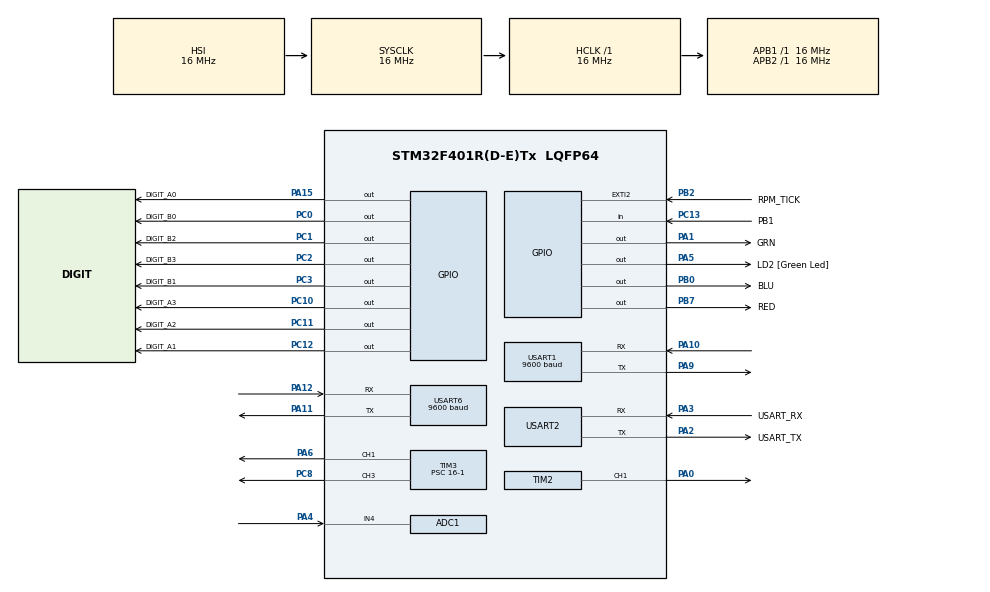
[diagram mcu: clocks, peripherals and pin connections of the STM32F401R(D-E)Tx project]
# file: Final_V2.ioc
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ADC1.Channel-1\#ChannelRegularConversion=ADC_CHANNEL_4
ADC1.NbrOfConversionFlag=1
ADC1.Rank-1\#ChannelRegularConversion=1
ADC1.Resolution=ADC_RESOLUTION_8B
ADC1.SamplingTime-1\#ChannelRegularConversion=ADC_SAMPLETIME_15CYCLES
ADC1.ScanConvMode=ENABLE
ADC1.master=1
Mcu.Family=STM32F4
Mcu.Name=STM32F401R(D-E)Tx
Mcu.Package=LQFP64
NVIC.EXTI2_IRQn=true\:0\:0\:false\:false\:true\:true\:true\:true
NVIC.PriorityGroup=NVIC_PRIORITYGROUP_0
NVIC.TIM5_IRQn=true\:0\:0\:false\:false\:true\:true\:true\:true
NVIC.USART1_IRQn=true\:0\:0\:false\:false\:true\:true\:true\:true
NVIC.USART6_IRQn=true\:0\:0\:false\:false\:true\:true\:true\:true
PA0-WKUP.Signal=S_TIM2_CH1_ETR
PA1.GPIO_Label=GRN
PA1.Signal=GPIO_Output
PA10.Mode=Asynchronous
PA10.Signal=USART1_RX
PA11.Mode=Asynchronous
PA11.Signal=USART6_TX
PA12.Mode=Asynchronous
PA12.Signal=USART6_RX
PA13.GPIO_Label=TMS
PA13.Mode=Serial_Wire
PA13.Signal=SYS_JTMS-SWDIO
PA14.GPIO_Label=TCK
PA14.Mode=Serial_Wire
PA14.Signal=SYS_JTCK-SWCLK
PA15.GPIO_Label=DIGIT_A0
PA15.Signal=GPIO_Output
PA2.GPIO_Label=USART_TX
PA2.GPIO_Mode=GPIO_MODE_AF_PP
PA2.GPIO_PuPd=GPIO_NOPULL
PA2.GPIO_Speed=GPIO_SPEED_FREQ_LOW
PA2.Mode=Asynchronous
PA2.Signal=USART2_TX
PA3.GPIO_Label=USART_RX
PA3.GPIO_Mode=GPIO_MODE_AF_PP
PA3.GPIO_PuPd=GPIO_NOPULL
PA3.GPIO_Speed=GPIO_SPEED_FREQ_LOW
PA3.Mode=Asynchronous
PA3.Signal=USART2_RX
PA4.Signal=ADCx_IN4
PA5.GPIO_Label=LD2 [Green Led]
PA5.GPIO_Mode=GPIO_MODE_OUTPUT_PP
PA5.GPIO_PuPd=GPIO_NOPULL
PA5.GPIO_Speed=GPIO_SPEED_FREQ_LOW
PA5.Signal=GPIO_Output
PA6.Signal=S_TIM3_CH1
PA9.Mode=Asynchronous
PA9.Signal=USART1_TX
PB0.GPIO_Label=BLU
PB0.Signal=GPIO_Output
PB2.GPIO_Label=RPM_TICK
PB2.Signal=GPXTI2
PB3.GPIO_Label=SWO
PB3.Signal=SYS_JTDO-SWO
PB7.GPIO_Label=RED
PB7.Signal=GPIO_Output
PC0.GPIO_Label=DIGIT_B0
PC0.Signal=GPIO_Output
PC1.GPIO_Label=DIGIT_B2
PC1.Signal=GPIO_Output
PC10.GPIO_Label=DIGIT_A3
PC10.Signal=GPIO_Output
PC11.GPIO_Label=DIGIT_A2
PC11.Signal=GPIO_Output
PC12.GPIO_Label=DIGIT_A1
PC12.Signal=GPIO_Output
PC13-ANTI_TAMP.GPIO_Label=PB1
PC13-ANTI_TAMP.Signal=GPIO_Input
PC14-OSC32_IN.Mode=LSE-External-Oscillator
PC14-OSC32_IN.Signal=RCC_OSC32_IN
PC15-OSC32_OUT.Mode=LSE-External-Oscillator
PC15-OSC32_OUT.Signal=RCC_OSC32_OUT
PC2.GPIO_Label=DIGIT_B3
PC2.Signal=GPIO_Output
PC3.GPIO_Label=DIGIT_B1
PC3.Signal=GPIO_Output
PC8.Signal=S_TIM3_CH3
PH0\ -\ OSC_IN.Mode=HSE-External-Clock-Source
PH0\ -\ OSC_IN.Signal=RCC_OSC_IN
PH1\ -\ OSC_OUT.Mode=HSE-External-Clock-Source
PH1\ -\ OSC_OUT.Signal=RCC_OSC_OUT
ProjectManager.HeapSize=0x200
ProjectManager.StackSize=0x400
ProjectManager.TargetToolchain=STM32CubeIDE
RCC.48MHZClocksFreq_Value=48000000
RCC.AHBFreq_Value=16000000
RCC.APB1Freq_Value=16000000
RCC.APB1TimFreq_Value=16000000
RCC.APB2Freq_Value=16000000
RCC.APB2TimFreq_Value=16000000
RCC.CortexFreq_Value=16000000
RCC.HCLKFreq_Value=16000000
RCC.HSE_VALUE=8000000
RCC.HSI_VALUE=16000000
RCC.PLLN=336
RCC.PLLP=RCC_PLLP_DIV4
RCC.PLLQ=7
RCC.SYSCLKFreq_VALUE=16000000
RCC.VCOOutputFreq_Value=336000000
SH.ADCx_IN4.0=ADC1_IN4,IN4
SH.S_TIM2_CH1_ETR.0=TIM2_CH1,PWM Generation1 CH1
SH.S_TIM3_CH1.0=TIM3_CH1,PWM Generation1 CH1
SH.S_TIM3_CH3.0=TIM3_CH3,PWM Generation3 CH3
TIM2.AutoReloadPreload=TIM_AUTORELOAD_PRELOAD_ENABLE
TIM2.Channel-PWM\ Generation1\ CH1=TIM_CHANNEL_1
TIM2.Period=20000-1
TIM2.Prescaler=16-1
TIM2.Pulse-PWM\ Generation1\ CH1=500-1
TIM3.AutoReloadPreload=TIM_AUTORELOAD_PRELOAD_ENABLE
TIM3.Channel-PWM\ Generation1\ CH1=TIM_CHANNEL_1
TIM3.Channel-PWM\ Generation3\ CH3=TIM_CHANNEL_3
TIM3.Period=2000-1
TIM3.Prescaler=16-1
TIM3.Pulse-PWM\ Generation1\ CH1=1200-1
TIM5.AutoReloadPreload=TIM_AUTORELOAD_PRELOAD_ENABLE
TIM5.Period=1000-1
TIM5.Prescaler=(16000-1)/300
USART1.BaudRate=9600
USART1.VirtualMode=VM_ASYNC
USART2.VirtualMode=VM_ASYNC
USART6.BaudRate=9600
USART6.VirtualMode=VM_ASYNC
VP_TIM2_VS_ClockSourceINT.Mode=Internal
VP_TIM5_VS_ClockSourceINT.Mode=Internal
board=NUCLEO-F401RE

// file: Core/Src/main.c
/* USER CODE BEGIN Header */
/**
  ******************************************************************************
  * @file           : main.c
  * @brief          : Main program body
  ******************************************************************************
  * @attention
  *
  * Copyright (c) 2024 STMicroelectronics.
  * All rights reserved.
  *
  * This software is licensed under terms that can be found in the LICENSE file
  * in the root directory of this software component.
  * If no LICENSE file comes with this software, it is provided AS-IS.
  *
  ******************************************************************************
  */
/* USER CODE END Header */
#include "main.h"

/* USER CODE BEGIN Includes */
#include <string.h>
#include <stdio.h>
#include <stdbool.h>
/* USER CODE END Includes */

/* USER CODE BEGIN PD */
uint8_t us100_buffer[2] = {0};
volatile uint16_t distance;
volatile uint8_t us100_Rx_flag = 0;
uint8_t cmd_dist = 0x55;
uint8_t msg_buffer[64] = {0};
int rpm_tick_count = 0;
uint8_t wall_clock_hr_update_flag = 0;
uint8_t rx_buffer[3]; // Buffer to store received characters
uint8_t rx_index = 0;              // Current index in the buffer
uint8_t rx_byte;                   // Temporary variable to store received byte
uint8_t txd_msg_buffer[64] = {0};
float rpm = 0;
int rpm_p = 0;
int new_hour = 0;
int halftime = 0;
uint8_t percent_pwm = 0;
float percent_pwm_p = 0;
uint8_t zone = 0;
bool done_setting = false;
int man_mode;
uint8_t DIG_A;
uint8_t DIG_B;
/* USER CODE END PD */

ADC_HandleTypeDef hadc1;

TIM_HandleTypeDef htim2;
TIM_HandleTypeDef htim3;
TIM_HandleTypeDef htim5;

UART_HandleTypeDef huart1;
UART_HandleTypeDef huart2;
UART_HandleTypeDef huart6;

/* USER CODE BEGIN PV */
volatile uint8_t clock_hours = 0;
volatile uint8_t clock_mins = 0;
volatile uint8_t clock_secs = 0;
/* USER CODE END PV */

void SystemClock_Config(void);
static void MX_GPIO_Init(void);
static void MX_USART2_UART_Init(void);
static void MX_ADC1_Init(void);
static void MX_TIM2_Init(void);
static void MX_TIM3_Init(void);
static void MX_USART1_UART_Init(void);
static void MX_USART6_UART_Init(void);
static void MX_TIM5_Init(void);
/* USER CODE BEGIN PFP */
static void ADC_Select_CH(int CH);
/* USER CODE END PFP */

/* USER CODE BEGIN 0 */
uint8_t rcv_intpt_flag = 0;
void ADC_Select_CH(int CH)
{
ADC_ChannelConfTypeDef sConfig = {0};
sConfig.Channel = ADC_CHANNEL_4;
sConfig.Rank = 1;
if (HAL_ADC_ConfigChannel(&hadc1, &sConfig) != HAL_OK)
	{
	Error_Handler();
	}
}
/* USER CODE END 0 */

int main(void)
{

  /* MCU Configuration--------------------------------------------------------*/

  /* Reset of all peripherals, Initializes the Flash interface and the Systick. */
  HAL_Init();

  /* USER CODE BEGIN Init */

  int mode = 0;
  /* USER CODE END Init */

  /* Configure the system clock */
  SystemClock_Config();

  /* Initialize all configured peripherals */
  MX_GPIO_Init();
  MX_USART2_UART_Init();
  MX_ADC1_Init();
  MX_TIM2_Init();
  MX_TIM3_Init();
  MX_USART1_UART_Init();
  MX_USART6_UART_Init();
  MX_TIM5_Init();
  /* USER CODE BEGIN 2 */
  HAL_TIM_Base_Init(&htim3);
  HAL_TIM_PWM_Start(&htim3, TIM_CHANNEL_1);
  HAL_TIM_PWM_Start(&htim3, TIM_CHANNEL_3);
  TIM3->PSC = 15;
  TIM3->ARR = 2000;
  TIM3->CCR1 = 0; //fwd
  TIM3->CCR3 = 0; //bckwd
  HAL_TIM_Base_Start(&htim2);
  HAL_TIM_PWM_Start(&htim2, TIM_CHANNEL_1);
  TIM2->PSC = 16-1;
  TIM2->ARR = 20000-1;
  TIM2->CCR1 = 500;
  int rpm_tick_start = 0;
  int timer_start = 1;
  int on_off = 0;
  int input_array[8];
  uint8_t clock_inputs[9];
  HAL_GPIO_WritePin(GPIOA, LD2_Pin, GPIO_PIN_RESET);

  /* USER CODE END 2 */

  /* Infinite loop */
  /* USER CODE BEGIN WHILE */
  while (1)
  {
    //user inputs for pipeplines
	  if (mode == 0){

		  HAL_UART_Transmit(&huart6, "\r\n",strlen("\r\n"), 1000);
			HAL_UART_Transmit(&huart6, "***SETUP MODE*** \r\n",strlen("***SETUP MODE*** \r\n"), 1000);
			HAL_UART_Transmit(&huart6, "ENTER SETUP PARAMETERS \r\n",strlen("ENTER SETUP PARAMETERS \r\n"), 1000);

			HAL_UART_Transmit(&huart6, "FIRST PIPELINE CHOICE FOR CONNECTION:",strlen("FIRST PIPELINE CHOICE FOR CONNECTION:"), 1000);
			rcv_intpt_flag = 00;
			HAL_UART_Receive_IT(&huart6, &rx_byte, 1);
			while(rcv_intpt_flag == (00)){}
			input_array[0] = atoi((char*)rx_buffer);
			HAL_UART_Transmit(&huart6, "\r\n",strlen("\r\n"), 1000);

			HAL_UART_Transmit(&huart6, "FIRST PIPELINE CHOICE FOR MOTOR PWM:",strlen("FIRST PIPELINE CHOICE FOR MOTOR PWM:"), 1000);
			rcv_intpt_flag = 00;
			HAL_UART_Receive_IT(&huart6, &rx_byte, 1);
			while(rcv_intpt_flag == (00)){}
			input_array[1] = atoi((char*)rx_buffer);
			HAL_UART_Transmit(&huart6, "\r\n",strlen("\r\n"), 1000);

			HAL_UART_Transmit(&huart6, "SECOND ZONE CHOICE FOR CONNECTION:",strlen("SECOND ZONE CHOICE FOR CONNECTION:"), 1000);
			rcv_intpt_flag = 00;
			HAL_UART_Receive_IT(&huart6, &rx_byte, 1);
			while(rcv_intpt_flag == (00)){}
			input_array[2] = atoi((char*)rx_buffer);
			HAL_UART_Transmit(&huart6, "\r\n",strlen("\r\n"), 1000);

			HAL_UART_Transmit(&huart6, "SECOND ZONE CHOICE FOR MOTOR PWM:",strlen("SECOND ZONE CHOICE FOR MOTOR PWM:"), 1000);
			rcv_intpt_flag = 00;
			HAL_UART_Receive_IT(&huart6, &rx_byte, 1);
			while(rcv_intpt_flag == (00)){}
			input_array[3] = atoi((char*)rx_buffer);
			HAL_UART_Transmit(&huart6, "\r\n",strlen("\r\n"), 1000);

			HAL_UART_Transmit(&huart6, "THIRD ZONE CHOICE FOR CONNECTION:",strlen("THIRD ZONE CHOICE FOR CONNECTION:"), 1000);
			rcv_intpt_flag = 00;
			HAL_UART_Receive_IT(&huart6, &rx_byte, 1);
			while(rcv_intpt_flag == (00)){}
			input_array[4] = atoi((char*)rx_buffer);
			HAL_UART_Transmit(&huart6, "\r\n",strlen("\r\n"), 1000);

			HAL_UART_Transmit(&huart6, "THIRD ZONE CHOICE FOR MOTOR PWM:",strlen("THIRD ZONE CHOICE FOR MOTOR PWM:"), 1000);
			rcv_intpt_flag = 00;
			HAL_UART_Receive_IT(&huart6, &rx_byte, 1);
			while(rcv_intpt_flag == (00)){}
			input_array[5] = atoi((char*)rx_buffer);
			HAL_UART_Transmit(&huart6, "\r\n",strlen("\r\n"), 1000);

			HAL_UART_Transmit(&huart6, "FOURTH ZONE CHOICE FOR CONNECTION:",strlen("FOURTH ZONE CHOICE FOR CONNECTION:"), 1000);
			rcv_intpt_flag = 00;
			HAL_UART_Receive_IT(&huart6, &rx_byte, 1);
			while(rcv_intpt_flag == (00)){}
			input_array[6] = atoi((char*)rx_buffer);
			HAL_UART_Transmit(&huart6, "\r\n",strlen("\r\n"), 1000);

			HAL_UART_Transmit(&huart6, "FOURTH ZONE CHOICE FOR MOTOR PWM:",strlen("FOURTH ZONE CHOICE FOR MOTOR PWM:"), 1000);
			rcv_intpt_flag = 00;
			HAL_UART_Receive_IT(&huart6, &rx_byte, 1);
			while(rcv_intpt_flag == (00)){}
			input_array[7] = atoi((char*)rx_buffer);
			HAL_UART_Transmit(&huart6, "\r\n",strlen("\r\n"), 1000);

      //user inputs for wall clock settings

      HAL_UART_Transmit(&huart6, "CURRENT WALL CLOCK TIME:",strlen("CURRENT WALL CLOCK TIME:"), 1000);
			rcv_intpt_flag = 00;
			HAL_UART_Receive_IT(&huart6, &rx_byte, 1);
			while(rcv_intpt_flag == (00)){}
      clock_inputs[0] = atoi((char*)rx_buffer);
			HAL_UART_Transmit(&huart6, "\r\n",strlen("\r\n"), 1000);

      HAL_UART_Transmit(&huart6, "INLET WALL CLOCK START TIME:",strlen("INLET WALL CLOCK START TIME:"), 1000);
			rcv_intpt_flag = 00;
			HAL_UART_Receive_IT(&huart6, &rx_byte, 1);
			while(rcv_intpt_flag == (00)){}
      clock_inputs[1] = atoi((char*)rx_buffer);
			HAL_UART_Transmit(&huart6, "\r\n",strlen("\r\n"), 1000);

      HAL_UART_Transmit(&huart6, "INLET WALL CLOCK STOP TIME:",strlen("INLET WALL CLOCK STOP TIME:"), 1000);
			rcv_intpt_flag = 00;
			HAL_UART_Receive_IT(&huart6, &rx_byte, 1);
			while(rcv_intpt_flag == (00)){}
      clock_inputs[2] = atoi((char*)rx_buffer);
			HAL_UART_Transmit(&huart6, "\r\n",strlen("\r\n"), 1000);

      HAL_UART_Transmit(&huart6, "FIRST ZONE CHOICE WALL CLOCK START TIME:",strlen("FIRST ZONE CHOICE WALL CLOCK START TIME:"), 1000);
			rcv_intpt_flag = 00;
			HAL_UART_Receive_IT(&huart6, &rx_byte, 1);
			while(rcv_intpt_flag == (00)){}
      clock_inputs[3] = atoi((char*)rx_buffer);
			HAL_UART_Transmit(&huart6, "\r\n",strlen("\r\n"), 1000);

      HAL_UART_Transmit(&huart6, "FIRST ZONE CHOICE WALL CLOCK STOP TIME:",strlen("FIRST ZONE CHOICE WALL CLOCK STOP TIME:"), 1000);
			rcv_intpt_flag = 00;
			HAL_UART_Receive_IT(&huart6, &rx_byte, 1);
			while(rcv_intpt_flag == (00)){}
      clock_inputs[4] = atoi((char*)rx_buffer);
			HAL_UART_Transmit(&huart6, "\r\n",strlen("\r\n"), 1000);

      HAL_UART_Transmit(&huart6, "SECOND ZONE CHOICE WALL CLOCK START TIME:",strlen("SECOND ZONE CHOICE WALL CLOCK START TIME:"), 1000);
			rcv_intpt_flag = 00;
			HAL_UART_Receive_IT(&huart6, &rx_byte, 1);
			while(rcv_intpt_flag == (00)){}
      clock_inputs[5] = atoi((char*)rx_buffer);
			HAL_UART_Transmit(&huart6, "\r\n",strlen("\r\n"), 1000);

      HAL_UART_Transmit(&huart6, "SECOND ZONE CHOICE WALL CLOCK STOP TIME:",strlen("SECOND ZONE CHOICE WALL CLOCK STOP TIME:"), 1000);
			rcv_intpt_flag = 00;
			HAL_UART_Receive_IT(&huart6, &rx_byte, 1);
			while(rcv_intpt_flag == (00)){}
      clock_inputs[6] = atoi((char*)rx_buffer);
			HAL_UART_Transmit(&huart6, "\r\n",strlen("\r\n"), 1000);

      HAL_UART_Transmit(&huart6, "THIRD ZONE CHOICE WALL CLOCK START TIME:",strlen("THIRD ZONE CHOICE WALL CLOCK START TIME:"), 1000);
			rcv_intpt_flag = 00;
			HAL_UART_Receive_IT(&huart6, &rx_byte, 1);
			while(rcv_intpt_flag == (00)){}
      clock_inputs[7] = atoi((char*)rx_buffer);
			HAL_UART_Transmit(&huart6, "\r\n",strlen("\r\n"), 1000);

      HAL_UART_Transmit(&huart6, "THIRD ZONE CHOICE WALL CLOCK STOP TIME:",strlen("THIRD ZONE CHOICE WALL CLOCK STOP TIME:"), 1000);
			rcv_intpt_flag = 00;
			HAL_UART_Receive_IT(&huart6, &rx_byte, 1);
			while(rcv_intpt_flag == (00)){}
      clock_inputs[8] = atoi((char*)rx_buffer);
      /*
			HAL_UART_Transmit(&huart6, "\r\n",strlen("\r\n"), 1000);
			HAL_UART_Transmit(&huart6, "***SETUP SUMMARY*** \r\n",strlen("***SETUP SUMMARY*** \r\n"), 1000);
			sprintf((char*) txd_msg_buffer, "CURRENT WALL CLOCK HOUR: %d \r\n", clock_inputs[0]);
			HAL_UART_Transmit(&huart6, txd_msg_buffer,strlen((char*) txd_msg_buffer), 1000);
			sprintf((char*) txd_msg_buffer, "INLET WALL CLOCK START TIME: %d | INLET WALL CLOCK END TIME: %d \r\n", clock_inputs[1], clock_inputs[2]);
			HAL_UART_Transmit(&huart6, txd_msg_buffer,strlen((char*) txd_msg_buffer), 1000);
			sprintf((char*) txd_msg_buffer, "FIRST ZONE WALL CLOCK START TIME: %d | FIRST ZONE WALL CLOCK END TIME: %d \r\n", clock_inputs[3], clock_inputs[4]);
			HAL_UART_Transmit(&huart6, txd_msg_buffer,strlen((char*) txd_msg_buffer), 1000);
			sprintf((char*) txd_msg_buffer, "SECOND ZONE WALL CLOCK START TIME: %d | SECOND ZONE WALL CLOCK END TIME: %d \r\n", clock_inputs[5], clock_inputs[6]);
			HAL_UART_Transmit(&huart6, txd_msg_buffer,strlen((char*) txd_msg_buffer), 1000);
			sprintf((char*) txd_msg_buffer, "THIRD ZONE WALL CLOCK START TIME: %d | THIRD ZONE WALL CLOCK END TIME: %d \r\n", clock_inputs[7], clock_inputs[8]);
			HAL_UART_Transmit(&huart6, txd_msg_buffer,strlen((char*) txd_msg_buffer), 1000);

			sprintf((char*) txd_msg_buffer, "FIRST PIPELINE LOCATION: %d | FIRST PIPELINE MOTOR PWM: %d \r\n", input_array[0], input_array[1]);
			HAL_UART_Transmit(&huart6, txd_msg_buffer,strlen((char*) txd_msg_buffer), 1000);
			sprintf((char*) txd_msg_buffer, "SECOND PIPELINE LOCATION: %d | SECOND PIPELINE MOTOR PWM: %d \r\n", input_array[2], input_array[3]);
			HAL_UART_Transmit(&huart6, txd_msg_buffer,strlen((char*) txd_msg_buffer), 1000);
			sprintf((char*) txd_msg_buffer, "THIRD PIPELINE LOCATION: %d | THIRD PIPELINE MOTOR PWM: %d \r\n", input_array[4], input_array[5]);
			HAL_UART_Transmit(&huart6, txd_msg_buffer,strlen((char*) txd_msg_buffer), 1000);
			sprintf((char*) txd_msg_buffer, "FOURTH PIPELINE LOCATION: %d | FOURTH PIPELINE MOTOR PWM: %d \r\n", input_array[6], input_array[7]);
			HAL_UART_Transmit(&huart6, txd_msg_buffer,strlen((char*) txd_msg_buffer), 1000);
*/
			HAL_UART_Transmit(&huart6, "\r\n",strlen("\r\n"), 1000);
			HAL_UART_Transmit(&huart6, "SETUP IS DONE. PUSH BLUE BUTTON TO ENTER RUN MODE \r\n",strlen("SETUP IS DONE. PUSH BLUE BUTTON TO ENTER RUN MODE \r\n"), 1000);
			mode = 1;
	  }
	  if(mode == 1){
		uint32_t last_toggle_time = HAL_GetTick();
		while(HAL_GetTick() - last_toggle_time <= 500){
      //stop blinking led if pushbutton is pressed
			if(HAL_GPIO_ReadPin(GPIOC, GPIO_PIN_13) == GPIO_PIN_RESET) {
				mode = 2;
				break;
			}
		}
    //blink LD2
		HAL_GPIO_TogglePin(LD2_GPIO_Port, LD2_Pin);
		last_toggle_time = HAL_GetTick();
	  }
    //enter and setup run mode
	  if(mode == 2){
			HAL_GPIO_WritePin(GPIOA, LD2_Pin, GPIO_PIN_SET);
			HAL_UART_Transmit(&huart6, "***RUN MODE***\r\n",strlen("***RUN MODE***\r\n"), 1000);
			// start up wall clock
			HAL_TIM_Base_Start_IT(&htim5);
		    clock_hours = clock_inputs[0]; // clock current time
		    clock_mins = 0;
		    clock_secs = 0;
			mode = 3;
    }

	if ((man_mode) && (mode != 4) && (mode != 5)){
		ADC_Select_CH(4);
		HAL_ADC_Start(&hadc1);
		HAL_ADC_PollForConversion(&hadc1, 1000);
		uint8_t ADC_CH4 = HAL_ADC_GetValue(&hadc1);
		HAL_ADC_Stop(&hadc1);
		if (input_array[0] == 0){
			TIM3->CCR3 = ADC_CH4*7;
		}
		else{
			TIM3->CCR1 = ADC_CH4*7;
		}
		percent_pwm_p = ADC_CH4;
		percent_pwm_p = percent_pwm_p /255;
		percent_pwm = percent_pwm_p * 100;
	}

    //run mode functionality
    if(mode == 3){

      //when zone 1 time equal current clock time
      if((done_setting == false) && (clock_inputs[1] == clock_hours)){
        Set_Pipe(input_array[0]);
        if(input_array[1] == 0){
          man_mode = 1;
        }
        else{
        	man_mode = 0;
        	Set_Motor(input_array[0], input_array[1]);
        }
        //Hourly_Report();
        done_setting = true;
      }
      //when zone 1 stop time, stop motor
      if(done_setting == true && clock_inputs[2] == clock_hours){
        TIM3->CCR1 = 0;
        TIM3->CCR3 = 0;
        percent_pwm = 0;
        man_mode = 0;
        done_setting = false;
      }
      //when zone 2 start time
      if(done_setting == false && clock_inputs[3] == clock_hours){
        Set_Pipe(input_array[2]);
        if(input_array[3] == 0){
		  man_mode = 1;
		}
		else{
			man_mode = 0;
			Set_Motor(input_array[2], input_array[3]);
		}
        done_setting = true;
      }
      //when zone 2 stop time
      if(done_setting == true && clock_inputs[4] == clock_hours){
        TIM3->CCR1 = 0;
        TIM3->CCR3 = 0;
        percent_pwm = 0;
        done_setting = false;
        man_mode = 0;
      }
      //when zone 3 start time
      if(done_setting == false && clock_inputs[5] == clock_hours){
        Set_Pipe(input_array[4]);
        if(input_array[5] == 0){
		  man_mode = 1;
		}
		else{
			man_mode = 0;
			Set_Motor(input_array[4], input_array[5]);
		}
        done_setting = true;
      }
      //when zone 3 stop time
      if(done_setting == true && clock_inputs[6] == clock_hours){
        TIM3->CCR1 = 0;
        TIM3->CCR3 = 0;
        percent_pwm = 0;
        done_setting = false;
        man_mode = 0;
      }
      //when zone 4 start time
      if(done_setting == false && clock_inputs[7] == clock_hours){
        Set_Pipe(input_array[6]);
        if(input_array[7] == 0){
		  man_mode = 1;
		}
		else{
			man_mode = 0;
			Set_Motor(input_array[6], input_array[7]);
		}
        done_setting = true;
      }
      //when zone 4 stop time
      if(done_setting == true && clock_inputs[8] == clock_hours){
        TIM3->CCR1 = 0;
        TIM3->CCR3 = 0;
        percent_pwm = 0;
        done_setting = false;
        man_mode = 0;
      }

    }

    if ((halftime) && (mode != 4) && (mode != 5)){
    	us100_Rx_flag = 0;
		HAL_UART_Receive_IT(&huart1, us100_buffer, 2);
		HAL_UART_Transmit(&huart1, &cmd_dist, 1, 500);
		while (us100_Rx_flag == (00)) {};
		distance = us100_buffer[0];
		distance = (distance << 8) + us100_buffer[1];
		float distance_p = distance;
		distance_p = 1-(distance_p / 750);
		distance = distance_p*100;

		if(distance <= 0){ // special event
			TIM3->CCR1 = 0; // motor off
			TIM3->CCR3 = 0;
			percent_pwm = 0;
			HAL_UART_Transmit(&huart6, "RESERVOIR IS EMPTY \r\n",strlen("RESERVOIR IS EMPTY \r\n"), 1000);
			HAL_GPIO_WritePin(GPIOA, LD2_Pin, GPIO_PIN_RESET); //LD2 off
			mode = 4;

		}

		//display depth on timer board
		DIG_A = distance / 10;
		DIG_B = distance % 10;
		DIGITS_Display(DIG_A, DIG_B);
    	uint32_t last_toggle_time2 = HAL_GetTick();
    	rpm_tick_start = rpm_tick_count;
    	while(HAL_GetTick() - last_toggle_time2 <= 1000){}
    	rpm = (rpm_tick_count - rpm_tick_start);
    	rpm = (rpm/20)*(60/1);
    	rpm_p = rpm;
    	halftime = 0;
    	Hourly_Report();
	}

    if (mode == 4){

		  uint32_t last_toggle_time2 = HAL_GetTick();
		  while(HAL_GetTick() - last_toggle_time2 <= 500){}
		  if (on_off == 0){
			  HAL_GPIO_WritePin(GPIOB, BLU_Pin, GPIO_PIN_SET);
			  HAL_GPIO_WritePin(GPIOB, RED_Pin, GPIO_PIN_SET);
			  HAL_GPIO_WritePin(GPIOA, GRN_Pin, GPIO_PIN_SET);
			  on_off = 1;
		  }
		  else if (on_off){
			  HAL_GPIO_WritePin(GPIOB, BLU_Pin, GPIO_PIN_RESET);
			  HAL_GPIO_WritePin(GPIOB, RED_Pin, GPIO_PIN_RESET);
			  HAL_GPIO_WritePin(GPIOA, GRN_Pin, GPIO_PIN_RESET);
			  on_off = 0;
		  }
		  last_toggle_time2 = HAL_GetTick();
    }
    if(clock_hours == 24){
    	HAL_GPIO_WritePin(GPIOA, LD2_Pin, GPIO_PIN_RESET); //LD2 off
	    mode = 5;
    }

    /* USER CODE END WHILE */

  }
}

void SystemClock_Config(void)
{
  RCC_OscInitTypeDef RCC_OscInitStruct = {0};
  RCC_ClkInitTypeDef RCC_ClkInitStruct = {0};

  /** Configure the main internal regulator output voltage
  */
  __HAL_RCC_PWR_CLK_ENABLE();
  __HAL_PWR_VOLTAGESCALING_CONFIG(PWR_REGULATOR_VOLTAGE_SCALE2);

  /** Initializes the RCC Oscillators according to the specified parameters
  * in the RCC_OscInitTypeDef structure.
  */
  RCC_OscInitStruct.OscillatorType = RCC_OSCILLATORTYPE_HSI;
  RCC_OscInitStruct.HSIState = RCC_HSI_ON;
  RCC_OscInitStruct.HSICalibrationValue = RCC_HSICALIBRATION_DEFAULT;
  RCC_OscInitStruct.PLL.PLLState = RCC_PLL_NONE;
  if (HAL_RCC_OscConfig(&RCC_OscInitStruct) != HAL_OK)
  {
    Error_Handler();
  }

  /** Initializes the CPU, AHB and APB buses clocks
  */
  RCC_ClkInitStruct.ClockType = RCC_CLOCKTYPE_HCLK|RCC_CLOCKTYPE_SYSCLK
                              |RCC_CLOCKTYPE_PCLK1|RCC_CLOCKTYPE_PCLK2;
  RCC_ClkInitStruct.SYSCLKSource = RCC_SYSCLKSOURCE_HSI;
  RCC_ClkInitStruct.AHBCLKDivider = RCC_SYSCLK_DIV1;
  RCC_ClkInitStruct.APB1CLKDivider = RCC_HCLK_DIV1;
  RCC_ClkInitStruct.APB2CLKDivider = RCC_HCLK_DIV1;

  if (HAL_RCC_ClockConfig(&RCC_ClkInitStruct, FLASH_LATENCY_0) != HAL_OK)
  {
    Error_Handler();
  }
}

static void MX_ADC1_Init(void)
{

  ADC_ChannelConfTypeDef sConfig = {0};

  /** Configure the global features of the ADC (Clock, Resolution, Data Alignment and number of conversion)
  */
  hadc1.Instance = ADC1;
  hadc1.Init.ClockPrescaler = ADC_CLOCK_SYNC_PCLK_DIV2;
  hadc1.Init.Resolution = ADC_RESOLUTION_8B;
  hadc1.Init.ScanConvMode = ENABLE;
  hadc1.Init.ContinuousConvMode = DISABLE;
  hadc1.Init.DiscontinuousConvMode = DISABLE;
  hadc1.Init.ExternalTrigConvEdge = ADC_EXTERNALTRIGCONVEDGE_NONE;
  hadc1.Init.ExternalTrigConv = ADC_SOFTWARE_START;
  hadc1.Init.DataAlign = ADC_DATAALIGN_RIGHT;
  hadc1.Init.NbrOfConversion = 1;
  hadc1.Init.DMAContinuousRequests = DISABLE;
  hadc1.Init.EOCSelection = ADC_EOC_SINGLE_CONV;
  if (HAL_ADC_Init(&hadc1) != HAL_OK)
  {
    Error_Handler();
  }

  /** Configure for the selected ADC regular channel its corresponding rank in the sequencer and its sample time.
  */
  sConfig.Channel = ADC_CHANNEL_4;
  sConfig.Rank = 1;
  sConfig.SamplingTime = ADC_SAMPLETIME_15CYCLES;
  if (HAL_ADC_ConfigChannel(&hadc1, &sConfig) != HAL_OK)
  {
    Error_Handler();
  }

}

static void MX_TIM2_Init(void)
{

  TIM_ClockConfigTypeDef sClockSourceConfig = {0};
  TIM_MasterConfigTypeDef sMasterConfig = {0};
  TIM_OC_InitTypeDef sConfigOC = {0};

  htim2.Instance = TIM2;
  htim2.Init.Prescaler = 16-1;
  htim2.Init.CounterMode = TIM_COUNTERMODE_UP;
  htim2.Init.Period = 20000-1;
  htim2.Init.ClockDivision = TIM_CLOCKDIVISION_DIV1;
  htim2.Init.AutoReloadPreload = TIM_AUTORELOAD_PRELOAD_ENABLE;
  if (HAL_TIM_Base_Init(&htim2) != HAL_OK)
  {
    Error_Handler();
  }
  sClockSourceConfig.ClockSource = TIM_CLOCKSOURCE_INTERNAL;
  if (HAL_TIM_ConfigClockSource(&htim2, &sClockSourceConfig) != HAL_OK)
  {
    Error_Handler();
  }
  if (HAL_TIM_PWM_Init(&htim2) != HAL_OK)
  {
    Error_Handler();
  }
  sMasterConfig.MasterOutputTrigger = TIM_TRGO_RESET;
  sMasterConfig.MasterSlaveMode = TIM_MASTERSLAVEMODE_DISABLE;
  if (HAL_TIMEx_MasterConfigSynchronization(&htim2, &sMasterConfig) != HAL_OK)
  {
    Error_Handler();
  }
  sConfigOC.OCMode = TIM_OCMODE_PWM1;
  sConfigOC.Pulse = 500-1;
  sConfigOC.OCPolarity = TIM_OCPOLARITY_HIGH;
  sConfigOC.OCFastMode = TIM_OCFAST_DISABLE;
  if (HAL_TIM_PWM_ConfigChannel(&htim2, &sConfigOC, TIM_CHANNEL_1) != HAL_OK)
  {
    Error_Handler();
  }
  HAL_TIM_MspPostInit(&htim2);

}

static void MX_TIM3_Init(void)
{

  TIM_MasterConfigTypeDef sMasterConfig = {0};
  TIM_OC_InitTypeDef sConfigOC = {0};

  htim3.Instance = TIM3;
  htim3.Init.Prescaler = 16-1;
  htim3.Init.CounterMode = TIM_COUNTERMODE_UP;
  htim3.Init.Period = 2000-1;
  htim3.Init.ClockDivision = TIM_CLOCKDIVISION_DIV1;
  htim3.Init.AutoReloadPreload = TIM_AUTORELOAD_PRELOAD_ENABLE;
  if (HAL_TIM_PWM_Init(&htim3) != HAL_OK)
  {
    Error_Handler();
  }
  sMasterConfig.MasterOutputTrigger = TIM_TRGO_RESET;
  sMasterConfig.MasterSlaveMode = TIM_MASTERSLAVEMODE_DISABLE;
  if (HAL_TIMEx_MasterConfigSynchronization(&htim3, &sMasterConfig) != HAL_OK)
  {
    Error_Handler();
  }
  sConfigOC.OCMode = TIM_OCMODE_PWM1;
  sConfigOC.Pulse = 1200-1;
  sConfigOC.OCPolarity = TIM_OCPOLARITY_HIGH;
  sConfigOC.OCFastMode = TIM_OCFAST_DISABLE;
  if (HAL_TIM_PWM_ConfigChannel(&htim3, &sConfigOC, TIM_CHANNEL_1) != HAL_OK)
  {
    Error_Handler();
  }
  sConfigOC.Pulse = 0;
  if (HAL_TIM_PWM_ConfigChannel(&htim3, &sConfigOC, TIM_CHANNEL_3) != HAL_OK)
  {
    Error_Handler();
  }
  HAL_TIM_MspPostInit(&htim3);

}

static void MX_TIM5_Init(void)
{

  TIM_ClockConfigTypeDef sClockSourceConfig = {0};
  TIM_MasterConfigTypeDef sMasterConfig = {0};

  htim5.Instance = TIM5;
  htim5.Init.Prescaler = (16000-1)/300;
  htim5.Init.CounterMode = TIM_COUNTERMODE_UP;
  htim5.Init.Period = 1000-1;
  htim5.Init.ClockDivision = TIM_CLOCKDIVISION_DIV1;
  htim5.Init.AutoReloadPreload = TIM_AUTORELOAD_PRELOAD_ENABLE;
  if (HAL_TIM_Base_Init(&htim5) != HAL_OK)
  {
    Error_Handler();
  }
  sClockSourceConfig.ClockSource = TIM_CLOCKSOURCE_INTERNAL;
  if (HAL_TIM_ConfigClockSource(&htim5, &sClockSourceConfig) != HAL_OK)
  {
    Error_Handler();
  }
  sMasterConfig.MasterOutputTrigger = TIM_TRGO_RESET;
  sMasterConfig.MasterSlaveMode = TIM_MASTERSLAVEMODE_DISABLE;
  if (HAL_TIMEx_MasterConfigSynchronization(&htim5, &sMasterConfig) != HAL_OK)
  {
    Error_Handler();
  }

}

static void MX_USART1_UART_Init(void)
{

  huart1.Instance = USART1;
  huart1.Init.BaudRate = 9600;
  huart1.Init.WordLength = UART_WORDLENGTH_8B;
  huart1.Init.StopBits = UART_STOPBITS_1;
  huart1.Init.Parity = UART_PARITY_NONE;
  huart1.Init.Mode = UART_MODE_TX_RX;
  huart1.Init.HwFlowCtl = UART_HWCONTROL_NONE;
  huart1.Init.OverSampling = UART_OVERSAMPLING_16;
  if (HAL_UART_Init(&huart1) != HAL_OK)
  {
    Error_Handler();
  }

}

static void MX_USART2_UART_Init(void)
{

  huart2.Instance = USART2;
  huart2.Init.BaudRate = 115200;
  huart2.Init.WordLength = UART_WORDLENGTH_8B;
  huart2.Init.StopBits = UART_STOPBITS_1;
  huart2.Init.Parity = UART_PARITY_NONE;
  huart2.Init.Mode = UART_MODE_TX_RX;
  huart2.Init.HwFlowCtl = UART_HWCONTROL_NONE;
  huart2.Init.OverSampling = UART_OVERSAMPLING_16;
  if (HAL_UART_Init(&huart2) != HAL_OK)
  {
    Error_Handler();
  }

}

static void MX_USART6_UART_Init(void)
{

  huart6.Instance = USART6;
  huart6.Init.BaudRate = 9600;
  huart6.Init.WordLength = UART_WORDLENGTH_8B;
  huart6.Init.StopBits = UART_STOPBITS_1;
  huart6.Init.Parity = UART_PARITY_NONE;
  huart6.Init.Mode = UART_MODE_TX_RX;
  huart6.Init.HwFlowCtl = UART_HWCONTROL_NONE;
  huart6.Init.OverSampling = UART_OVERSAMPLING_16;
  if (HAL_UART_Init(&huart6) != HAL_OK)
  {
    Error_Handler();
  }

}

static void MX_GPIO_Init(void)
{
  GPIO_InitTypeDef GPIO_InitStruct = {0};

  /* GPIO Ports Clock Enable */
  __HAL_RCC_GPIOC_CLK_ENABLE();
  __HAL_RCC_GPIOH_CLK_ENABLE();
  __HAL_RCC_GPIOA_CLK_ENABLE();
  __HAL_RCC_GPIOB_CLK_ENABLE();

  /*Configure GPIO pin Output Level */
  HAL_GPIO_WritePin(GPIOC, DIGIT_B0_Pin|DIGIT_B2_Pin|DIGIT_B3_Pin|DIGIT_B1_Pin
                          |DIGIT_A3_Pin|DIGIT_A2_Pin|DIGIT_A1_Pin, GPIO_PIN_RESET);

  /*Configure GPIO pin Output Level */
  HAL_GPIO_WritePin(GPIOA, GRN_Pin|LD2_Pin|DIGIT_A0_Pin, GPIO_PIN_RESET);

  /*Configure GPIO pin Output Level */
  HAL_GPIO_WritePin(GPIOB, BLU_Pin|RED_Pin, GPIO_PIN_RESET);

  /*Configure GPIO pin : PB1_Pin */
  GPIO_InitStruct.Pin = PB1_Pin;
  GPIO_InitStruct.Mode = GPIO_MODE_INPUT;
  GPIO_InitStruct.Pull = GPIO_NOPULL;
  HAL_GPIO_Init(PB1_GPIO_Port, &GPIO_InitStruct);

  /*Configure GPIO pins : DIGIT_B0_Pin DIGIT_B2_Pin DIGIT_B3_Pin DIGIT_B1_Pin
                           DIGIT_A3_Pin DIGIT_A2_Pin DIGIT_A1_Pin */
  GPIO_InitStruct.Pin = DIGIT_B0_Pin|DIGIT_B2_Pin|DIGIT_B3_Pin|DIGIT_B1_Pin
                          |DIGIT_A3_Pin|DIGIT_A2_Pin|DIGIT_A1_Pin;
  GPIO_InitStruct.Mode = GPIO_MODE_OUTPUT_PP;
  GPIO_InitStruct.Pull = GPIO_NOPULL;
  GPIO_InitStruct.Speed = GPIO_SPEED_FREQ_LOW;
  HAL_GPIO_Init(GPIOC, &GPIO_InitStruct);

  /*Configure GPIO pins : GRN_Pin LD2_Pin DIGIT_A0_Pin */
  GPIO_InitStruct.Pin = GRN_Pin|LD2_Pin|DIGIT_A0_Pin;
  GPIO_InitStruct.Mode = GPIO_MODE_OUTPUT_PP;
  GPIO_InitStruct.Pull = GPIO_NOPULL;
  GPIO_InitStruct.Speed = GPIO_SPEED_FREQ_LOW;
  HAL_GPIO_Init(GPIOA, &GPIO_InitStruct);

  /*Configure GPIO pins : BLU_Pin RED_Pin */
  GPIO_InitStruct.Pin = BLU_Pin|RED_Pin;
  GPIO_InitStruct.Mode = GPIO_MODE_OUTPUT_PP;
  GPIO_InitStruct.Pull = GPIO_NOPULL;
  GPIO_InitStruct.Speed = GPIO_SPEED_FREQ_LOW;
  HAL_GPIO_Init(GPIOB, &GPIO_InitStruct);

  /*Configure GPIO pin : RPM_TICK_Pin */
  GPIO_InitStruct.Pin = RPM_TICK_Pin;
  GPIO_InitStruct.Mode = GPIO_MODE_IT_RISING;
  GPIO_InitStruct.Pull = GPIO_NOPULL;
  HAL_GPIO_Init(RPM_TICK_GPIO_Port, &GPIO_InitStruct);

  /* EXTI interrupt init*/
  HAL_NVIC_SetPriority(EXTI2_IRQn, 0, 0);
  HAL_NVIC_EnableIRQ(EXTI2_IRQn);

}

/* USER CODE BEGIN 4 */
void HAL_UART_RxCpltCallback(UART_HandleTypeDef *huart){
	if(huart->Instance ==USART1){
		us100_Rx_flag = 1;
	}
	if (huart->Instance == USART6)
	{
		// Store received byte in the buffer
		if (rx_byte != '\n' && rx_byte != '\r' && rx_index < 3 - 1) {
			rx_buffer[rx_index++] = rx_byte; // Add character to buffer
			HAL_UART_Transmit(&huart6, &rx_byte, 1, 100);
			// Re-enable reception for the next byte
			HAL_UART_Receive_IT(&huart6, &rx_byte, 1);
		} else {
			rx_buffer[rx_index] = '\0'; // Null-terminate the string
			rcv_intpt_flag = 1;

			// Reset the buffer for the next input
			rx_index = 0;
		}
	}
}
void HAL_GPIO_EXTI_Callback(uint16_t GPIO_Pin){
	if(GPIO_Pin ==RPM_TICK_Pin){
		rpm_tick_count +=1;
	}
}
void DIGITS_Display(uint8_t DIGIT_A, uint8_t DIGIT_B)
{
	 uint8_t DIGITA_VAL = 0x0F & DIGIT_A; //mask off higher4 bits
	 int Abit0 = (DIGITA_VAL ) & 1;  	// extract Abit0 of the 4-bit value
	 int Abit1 = (DIGITA_VAL >> 1) & 1;  // extract Abit1 of the 4-bit value
	 int Abit2 = (DIGITA_VAL >> 2) & 1;  // extract Abit2 of the 4-bit value
	 int Abit3 = (DIGITA_VAL >> 3) & 1;  // extract Abit3 of the 4-bit value

	 uint8_t DIGITB_VAL = 0x0F & DIGIT_B; //mask off higher4 bits
	 int Bbit0 = (DIGITB_VAL ) & 1;  	// extract Bbit0 of the 4-bit value
	 int Bbit1 = (DIGITB_VAL >> 1) & 1;  // extract Bbit1 of the 4-bit value
	 int Bbit2 = (DIGITB_VAL >> 2) & 1;  // extract Bbit2 of the 4-bit value
	 int Bbit3 = (DIGITB_VAL >> 3) & 1;  // extract Bbit3 of the 4-bit value

	 if (Abit0 == (0))
	 {
		 HAL_GPIO_WritePin(GPIOA, DIGIT_A0_Pin, GPIO_PIN_RESET);
	 }
	 else
	 {
		 HAL_GPIO_WritePin(GPIOA, DIGIT_A0_Pin, GPIO_PIN_SET);

	 }
	 if (Abit1 == (0))
	 {
		 HAL_GPIO_WritePin(GPIOC, DIGIT_A1_Pin, GPIO_PIN_RESET);
	 }
	 else
	 {
		 HAL_GPIO_WritePin(GPIOC, DIGIT_A1_Pin, GPIO_PIN_SET);

	 }
	 if (Abit2 == (0))
	 {
		 HAL_GPIO_WritePin(GPIOC, DIGIT_A2_Pin, GPIO_PIN_RESET);
	 }
	 else
	 {
		 HAL_GPIO_WritePin(GPIOC, DIGIT_A2_Pin, GPIO_PIN_SET);

	 }
	 if (Abit3 == (0))
	 {
		 HAL_GPIO_WritePin(GPIOC, DIGIT_A3_Pin, GPIO_PIN_RESET);
	 }
	 else
	 {
		 HAL_GPIO_WritePin(GPIOC, DIGIT_A3_Pin, GPIO_PIN_SET);

	 }

	 if (Bbit0 == (0))
	 {
		 HAL_GPIO_WritePin(GPIOC, DIGIT_B0_Pin, GPIO_PIN_RESET);
	 }
	 else
	 {
		 HAL_GPIO_WritePin(GPIOC, DIGIT_B0_Pin, GPIO_PIN_SET);

	 }
	 if (Bbit1 == (0))
	 {
		 HAL_GPIO_WritePin(GPIOC, DIGIT_B1_Pin, GPIO_PIN_RESET);
	 }
	 else
	 {
		 HAL_GPIO_WritePin(GPIOC, DIGIT_B1_Pin, GPIO_PIN_SET);

	 }
	 if (Bbit2 == (0))
	 {
		 HAL_GPIO_WritePin(GPIOC, DIGIT_B2_Pin, GPIO_PIN_RESET);
	 }
	 else
	 {
		 HAL_GPIO_WritePin(GPIOC, DIGIT_B2_Pin, GPIO_PIN_SET);

	 }
	 if (Bbit3 == (0))
	 {
		 HAL_GPIO_WritePin(GPIOC, DIGIT_B3_Pin, GPIO_PIN_RESET);
	 }
	 else
	 {
		 HAL_GPIO_WritePin(GPIOC, DIGIT_B3_Pin, GPIO_PIN_SET);

	 }
}
void Set_Pipe(int location){
	//if inlet
	if(location == 0){
		//purple
		HAL_GPIO_WritePin(GPIOB, BLU_Pin, GPIO_PIN_SET);
		HAL_GPIO_WritePin(GPIOB, RED_Pin, GPIO_PIN_SET);
		HAL_GPIO_WritePin(GPIOA, GRN_Pin, GPIO_PIN_RESET);
    //default position
		TIM2->CCR1 = 2000;
    zone = 0;
	}
	//if outlet 1
	if(location == 1){
		//red
		HAL_GPIO_WritePin(GPIOB, BLU_Pin, GPIO_PIN_RESET);
		HAL_GPIO_WritePin(GPIOB, RED_Pin, GPIO_PIN_SET);
		HAL_GPIO_WritePin(GPIOA, GRN_Pin, GPIO_PIN_RESET);
    //45 degrees
		TIM2->CCR1 = 500;
    zone = 1;
	}
	//if outlet 2
	if(location == 2){
		//green
		HAL_GPIO_WritePin(GPIOB, BLU_Pin, GPIO_PIN_RESET);
		HAL_GPIO_WritePin(GPIOB, RED_Pin, GPIO_PIN_RESET);
		HAL_GPIO_WritePin(GPIOA, GRN_Pin, GPIO_PIN_SET);
    //90 degress
		TIM2->CCR1 = 1000;
    zone = 2;
  }
	//if outlet 3
	if(location == 3){
		//blue
		HAL_GPIO_WritePin(GPIOB, BLU_Pin, GPIO_PIN_SET);
		HAL_GPIO_WritePin(GPIOB, RED_Pin, GPIO_PIN_RESET);
		HAL_GPIO_WritePin(GPIOA, GRN_Pin, GPIO_PIN_RESET);
    //135 degrees
		TIM2->CCR1 = 1500;
    zone = 3;
	}
}

void Set_Motor(int direction, int speed){

  //*inlet moves motor in reverse
  if(direction == 0){
    if(speed == 1){
      TIM3->CCR3 = 1400; // 70% of 60k
      percent_pwm = 70;
    }
    else if(speed == 2){
      TIM3->CCR3 = 1700; // 85% of 60k
      percent_pwm = 85;
    }
    else if(speed == 3){
      TIM3->CCR3 = 1980; // 99% of 60k
      percent_pwm = 99;
    }
  }
  //for outlet
  else {
    if(speed == 1){
      TIM3->CCR1 = 1400; // 70% of 60k
      percent_pwm = 70;
    }
    else if(speed == 2){
      TIM3->CCR1 = 1700; // 85% of 60k
      percent_pwm = 85;
    }
    else if(speed == 3){
      TIM3->CCR1 = 1980; // 99% of 60k
      percent_pwm = 99;
    }
  }
}
void Hourly_Report(){

  sprintf((char*) txd_msg_buffer, "Time %d:%d | Zone %d | Motor Speed %d%%", clock_hours, clock_mins, zone, percent_pwm);
  HAL_UART_Transmit(&huart6, txd_msg_buffer,strlen((char*) txd_msg_buffer), 1000);
  sprintf((char*) txd_msg_buffer, "| Motor RPM %d | Water Depth %d%% \r\n", rpm_p, distance);
  HAL_UART_Transmit(&huart6, txd_msg_buffer,strlen((char*) txd_msg_buffer), 1000);

}

void HAL_TIM_PeriodElapsedCallback(TIM_HandleTypeDef *htim){
	if((htim->Instance == TIM5)){
		wall_clock_hr_update_flag = 0; // screen updates occur hourly on the half-hour
		clock_secs += 1;
		if((clock_secs == 60)){
			clock_mins += 1;
			clock_secs = 0;
			if(clock_mins == 15){
				halftime = 1;
			}
		}
		if((clock_mins == 60 )){
			clock_hours += 1;
			clock_mins = 0;
			//new_hour = 1;
		}
		wall_clock_hr_update_flag = 1; // screen updates occur hourly on the hour
	}
}

/* USER CODE END 4 */

void Error_Handler(void)
{
  __disable_irq();
  while (1)
  {
  }
}
